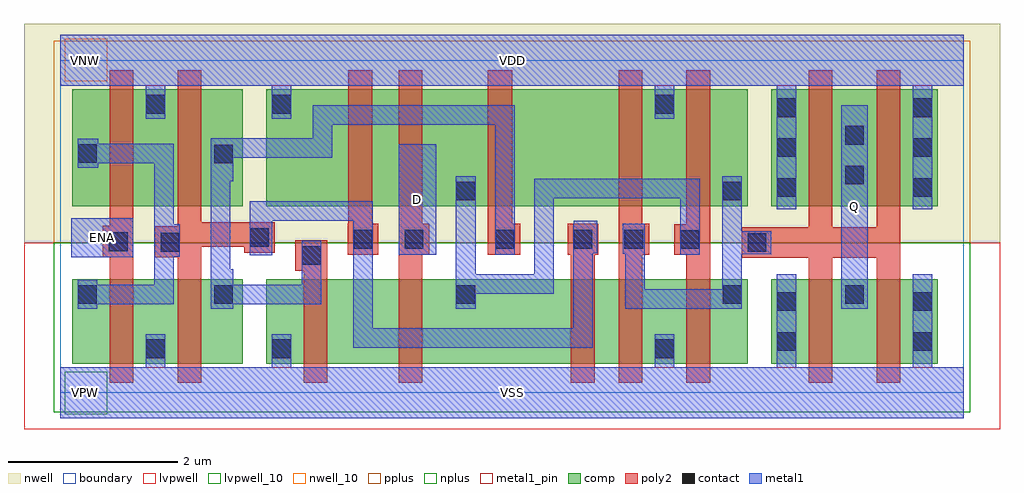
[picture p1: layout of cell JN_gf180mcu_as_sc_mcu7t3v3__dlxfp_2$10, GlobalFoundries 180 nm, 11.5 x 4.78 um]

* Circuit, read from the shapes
.subckt JN_gf180mcu_as_sc_mcu7t3v3__dlxfp_2$10 D ENA Q VDD VNW VSS
XM1 VSS ENA n1 VSUBS nfet_03v3 w=1u l=0.28u
XM2 n2 n1 VSS VSUBS nfet_03v3 w=1u l=0.28u
XM3 n3 n2 VSS VSUBS nfet_03v3 w=1u l=0.28u
XM4 n4 D n3 VSUBS nfet_03v3 w=1u l=0.28u
XM5 n5 n1 n4 VSUBS nfet_03v3 w=1u l=0.28u
XM6 VSS n6 n5 VSUBS nfet_03v3 w=1u l=0.28u
XM7 n6 n4 VSS VSUBS nfet_03v3 w=1u l=0.28u
XM8 Q n6 VSS VSUBS nfet_03v3 w=1u l=0.28u m=2
XM9 VDD ENA n1 VNW pfet_03v3 w=1.38u l=0.28u
XM10 n2 n1 VDD VNW pfet_03v3 w=1.38u l=0.28u
XM11 n7 n1 VDD VNW pfet_03v3 w=1.38u l=0.285u
XM12 n4 D n7 VNW pfet_03v3 w=1.38u l=0.28u
XM13 n8 n2 n4 VNW pfet_03v3 w=1.38u l=0.285u
XM14 VDD n6 n8 VNW pfet_03v3 w=1.38u l=0.28u
XM15 n6 n4 VDD VNW pfet_03v3 w=1.38u l=0.28u
XM16 Q n6 VDD VNW pfet_03v3 w=1.38u l=0.28u m=2
.ends

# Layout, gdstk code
import gdstk
lib = gdstk.Library(unit=1e-6, precision=1e-09)
def R(c, l, rs):  # rectangles x0, y0, x1, y1
    for r in rs: c.add(gdstk.rectangle(r[:2], r[2:], *l))
def A(c, l, x, y, w, h, nx, ny, dx, dy):  # array of equal rectangles
    R(c, l, [(x+i*dx, y+j*dy, x+i*dx+w, y+j*dy+h) for i in range(nx) for j in range(ny)])
boundary = (0, 0)
nwell = (21, 0)
nwell_10 = (21, 10)
comp = (22, 0)
poly2 = (30, 0)
pplus = (31, 0)
nplus = (32, 0)
contact = (33, 0)
metal1 = (34, 0)
metal1_pin = (34, 10)
lvpwell = (204, 0)
lvpwell_10 = (204, 10)

jn_gf180mcu_as_sc_mcu7t3 = lib.new_cell('JN_gf180mcu_as_sc_mcu7t3v3__dlxfp_2$10')
R(jn_gf180mcu_as_sc_mcu7t3, boundary, [(0,0,10.64,3.92)])
R(jn_gf180mcu_as_sc_mcu7t3, nwell, [(-0.43,1.77,11.07,4.35)])
R(jn_gf180mcu_as_sc_mcu7t3, nwell_10, [(0.05,3.67,0.55,4.17)])
R(jn_gf180mcu_as_sc_mcu7t3, comp, [(0.14,0.34,2.145,1.34), (2.425,0.34,8.095,1.34), (8.375,0.34,10.335,1.34), (0.14,2.2,2.145,3.58), (2.425,2.2,8.095,3.58), (8.375,2.2,10.335,3.58)])
R(jn_gf180mcu_as_sc_mcu7t3, poly2, [(0.58,0.12,0.86,1.6), (1.38,0.12,1.66,1.595), (2.865,0.12,3.145,1.44), (3.985,0.12,4.265,1.63), (6.015,0.12,6.295,1.63), (6.575,0.12,6.855,1.63), (7.375,0.12,7.655,1.625), (8.815,0.12,9.095,1.59), (9.615,0.12,9.895,1.59), (2.765,1.44,3.145,1.8), (8.025,1.59,9.895,1.95), (1.11,1.595,1.66,1.72), (0.5,1.6,0.86,1.97), (7.23,1.625,7.655,1.985), (3.385,1.63,3.745,1.99), (3.985,1.63,4.345,1.99), (5.035,1.63,5.415,1.99), (5.975,1.63,6.335,1.99), (6.575,1.63,6.935,1.99), (2.165,1.65,2.525,1.72), (1.11,1.72,2.525,1.965), (8.815,1.95,9.095,3.8), (9.615,1.95,9.895,3.8), (1.38,1.965,2.525,2.01), (0.58,1.97,0.86,3.8), (7.375,1.985,7.655,3.8), (3.39,1.99,3.675,3.8), (3.985,1.99,4.265,3.8), (5.035,1.99,5.32,3.8), (6.575,1.99,6.855,3.8), (1.38,2.01,1.66,3.8)])
R(jn_gf180mcu_as_sc_mcu7t3, pplus, [(-0.08,1.77,10.72,4.15)])
R(jn_gf180mcu_as_sc_mcu7t3, nplus, [(-0.08,-0.23,10.72,1.77)])
A(jn_gf180mcu_as_sc_mcu7t3, contact, 8.445, 2.31, 0.22, 0.22, 1, 3, 0, 0.47)
A(jn_gf180mcu_as_sc_mcu7t3, contact, 10.045, 2.31, 0.22, 0.22, 1, 3, 0, 0.47)
R(jn_gf180mcu_as_sc_mcu7t3, contact, [(1.01,0.41,1.23,0.63), (2.495,0.41,2.715,0.63), (7.005,0.41,7.225,0.63), (8.445,0.495,8.665,0.715), (10.045,0.495,10.265,0.715), (8.445,0.965,8.665,1.185), (10.045,0.965,10.265,1.185), (0.21,1.05,0.43,1.27), (1.81,1.05,2.03,1.27), (4.665,1.05,4.885,1.27), (7.805,1.05,8.025,1.27), (9.245,1.05,9.465,1.27), (2.845,1.51,3.065,1.73), (8.095,1.66,8.315,1.88), (1.18,1.665,1.4,1.885), (0.57,1.67,0.79,1.89), (7.305,1.695,7.525,1.915), (3.455,1.7,3.675,1.92), (4.055,1.7,4.275,1.92), (5.125,1.7,5.345,1.92), (6.045,1.7,6.265,1.92), (6.645,1.7,6.865,1.92), (2.235,1.72,2.455,1.94), (4.665,2.27,4.885,2.49), (7.805,2.27,8.025,2.49), (9.245,2.455,9.465,2.675), (1.81,2.705,2.03,2.925), (0.21,2.71,0.43,2.93), (9.245,2.925,9.465,3.145), (1.01,3.29,1.23,3.51), (2.495,3.29,2.715,3.51), (7.005,3.29,7.225,3.51)])
R(jn_gf180mcu_as_sc_mcu7t3, metal1, [(0,-0.3,10.64,0.3), (1.005,0.3,1.235,0.69), (2.49,0.3,2.72,0.69), (7,0.3,7.23,0.69), (8.44,0.3,8.67,1.395), (10.04,0.3,10.27,1.395), (3.45,0.53,6.27,0.76), (3.45,0.76,3.68,2.025), (6.04,0.76,6.27,1.645), (0.205,0.99,0.435,1.045), (1.77,0.99,2.035,1.045), (4.66,0.99,4.89,1.17), (6.655,0.99,8.03,1.22), (9.2,0.99,9.51,3.39), (0.205,1.045,1.335,1.275), (1.77,1.045,3.07,1.275), (4.66,1.17,5.81,1.4), (6.655,1.22,6.885,1.64), (7.8,1.22,8.03,1.635), (0.205,1.275,0.435,1.33), (1.105,1.275,1.335,1.605), (1.77,1.275,2.035,1.455), (2.84,1.275,3.07,1.79), (4.66,1.4,4.89,2.55), (5.58,1.4,5.81,2.295), (1.77,1.455,2,2.495), (0.125,1.6,0.86,2.06), (1.105,1.605,1.405,1.985), (2.23,1.62,2.495,2.025), (7.3,1.625,7.53,2.295), (3.985,1.63,4.43,2.93), (5.12,1.63,5.35,3.16), (7.8,1.635,8.375,1.905), (6.625,1.64,6.885,1.99), (6.04,1.645,6.325,1.99), (7.8,1.905,8.03,2.55), (1.105,1.985,1.335,2.705), (6.045,1.99,6.325,2.025), (2.23,2.025,3.68,2.255), (8.44,2.165,8.67,3.62), (10.04,2.165,10.27,3.62), (5.58,2.295,7.53,2.525), (1.77,2.495,2.035,2.77), (0.205,2.65,0.445,2.705), (0.205,2.705,1.335,2.935), (1.77,2.77,3.2,3), (0.205,2.935,0.445,2.995), (2.97,3,3.2,3.16), (2.97,3.16,5.35,3.39), (1.005,3.23,1.235,3.62), (2.49,3.23,2.72,3.62), (7,3.23,7.23,3.62), (0,3.62,10.64,4.22)])
R(jn_gf180mcu_as_sc_mcu7t3, metal1_pin, [(0,-0.3,10.64,0.3), (9.2,0.99,9.51,3.39), (0.125,1.6,0.86,2.06), (3.985,1.63,4.43,2.93), (0,3.62,10.64,4.22)])
R(jn_gf180mcu_as_sc_mcu7t3, lvpwell, [(-0.43,-0.43,11.07,1.77)])
R(jn_gf180mcu_as_sc_mcu7t3, lvpwell_10, [(0.05,-0.25,0.55,0.25)])
jn_gf180mcu_as_sc_mcu7t3.add(gdstk.Label('Q', (9.355,2.19), layer=34, texttype=10))
jn_gf180mcu_as_sc_mcu7t3.add(gdstk.Label('D', (4.207,2.28), layer=34, texttype=10))
jn_gf180mcu_as_sc_mcu7t3.add(gdstk.Label('ENA', (0.492,1.83), layer=34, texttype=10))
jn_gf180mcu_as_sc_mcu7t3.add(gdstk.Label('VSS', (5.32,0), layer=34, texttype=10))
jn_gf180mcu_as_sc_mcu7t3.add(gdstk.Label('VDD', (5.32,3.92), layer=34, texttype=10))
jn_gf180mcu_as_sc_mcu7t3.add(gdstk.Label('VNW', (0.3,3.92), layer=21, texttype=10))
jn_gf180mcu_as_sc_mcu7t3.add(gdstk.Label('VPW', (0.3,0), layer=204, texttype=10))

lib.write_gds('JN_gf180mcu_as_sc_mcu7t3v3__dlxfp_2_10.gds')
